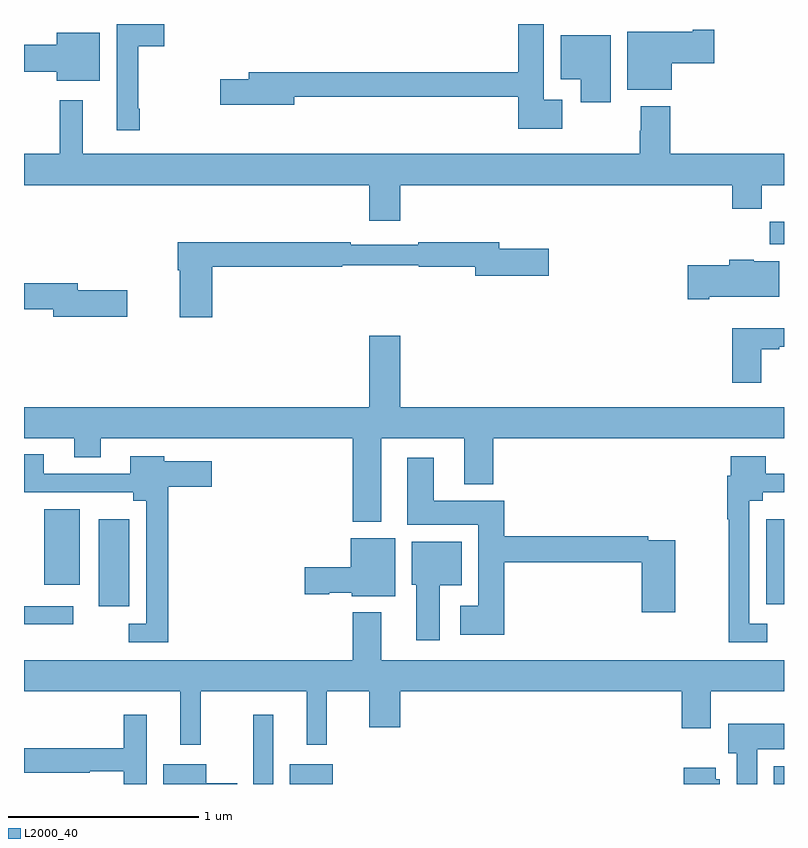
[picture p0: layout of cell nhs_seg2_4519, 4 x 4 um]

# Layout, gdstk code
import gdstk
lib = gdstk.Library(unit=1e-6, precision=1e-09)
def R(c, l, rs):  # rectangles x0, y0, x1, y1
    for r in rs: c.add(gdstk.rectangle(r[:2], r[2:], *l))
def P(c, l, *ps):  # polygons
    for p in ps: c.add(gdstk.Polygon(p, *l))
L2000_40 = (2000, 40)

nhs_seg2_4519 = lib.new_cell('nhs_seg2_4519')
R(nhs_seg2_4519, L2000_40, [(356.207,661.8,356.311,662.164), (356.399,661.8,356.626,661.903), (358.946,661.8,359,661.894), (355,662.64,355.258,662.736), (355.394,662.735,355.555,663.193), (358.907,662.745,359,663.193), (355.106,662.849,355.294,663.247), (358.924,664.64,359,664.759)])
P(nhs_seg2_4519, L2000_40, [(355.609,665.353),(355.601,665.353),(355.601,665.684),(355.738,665.684),(355.738,665.8),(355.487,665.8),(355.487,665.241),(355.609,665.241)],
  [(357.832,665.401),(357.736,665.401),(357.736,665.8),(357.602,665.8),(357.602,665.546),(356.183,665.546),(356.183,665.51),(356.034,665.51),(356.034,665.375),(356.422,665.375),(356.422,665.418),(357.602,665.418),(357.602,665.249),(357.832,665.249)],
  [(358.408,665.593),(358.633,665.593),(358.633,665.771),(358.52,665.771),(358.52,665.758),(358.175,665.758),(358.175,665.453),(358.408,665.453)],
  [(355.399,665.755),(355.172,665.755),(355.172,665.69),(355,665.69),(355,665.548),(355.172,665.548),(355.172,665.501),(355.399,665.501)],
  [(358.087,665.74),(357.824,665.74),(357.824,665.51),(357.929,665.51),(357.929,665.388),(358.087,665.388)],
  [(356.98,664.952),(358.727,664.952),(358.727,664.828),(358.883,664.828),(358.883,664.952),(359,664.952),(359,665.116),(358.4,665.116),(358.4,665.368),(358.247,665.368),(358.247,665.237),(358.24,665.237),(358.24,665.116),(355.309,665.116),(355.309,665.398),(355.188,665.398),(355.188,665.116),(355,665.116),(355,664.952),(356.816,664.952),(356.816,664.764),(356.98,664.764)],
  [(355.991,664.522),(356.676,664.522),(356.676,664.53),(357.078,664.53),(357.078,664.522),(357.374,664.522),(357.374,664.475),(357.763,664.475),(357.763,664.617),(357.502,664.617),(357.502,664.651),(357.076,664.651),(357.076,664.638),(356.72,664.638),(356.72,664.651),(355.808,664.651),(355.808,664.505),(355.82,664.505),(355.82,664.257),(355.991,664.257)],
  [(358.606,664.364),(358.975,664.364),(358.975,664.552),(358.842,664.552),(358.842,664.558),(358.712,664.558),(358.712,664.53),(358.494,664.53),(358.494,664.352),(358.606,664.352)],
  [(355.543,664.4),(355.282,664.4),(355.282,664.436),(355,664.436),(355,664.3),(355.154,664.3),(355.154,664.258),(355.543,664.258)],
  [(358.879,664.089),(358.975,664.089),(358.975,664.101),(359,664.101),(359,664.198),(358.727,664.198),(358.727,663.912),(358.879,663.912)],
  [(356.881,663.62),(357.317,663.62),(357.317,663.377),(357.47,663.377),(357.47,663.62),(359,663.62),(359,663.784),(356.98,663.784),(356.98,664.159),(356.816,664.159),(356.816,663.784),(355,663.784),(355,663.62),(355.265,663.62),(355.265,663.521),(355.405,663.521),(355.405,663.62),(356.729,663.62),(356.729,663.179),(356.881,663.179)],
  [(355.76,663.365),(355.987,663.365),(355.987,663.499),(355.737,663.499),(355.737,663.526),(355.559,663.526),(355.559,663.432),(355.105,663.432),(355.105,663.535),(355,663.535),(355,663.336),(355.574,663.336),(355.574,663.29),(355.644,663.29),(355.644,662.644),(355.551,662.644),(355.551,662.547),(355.76,662.547)],
  [(358.912,662.643),(358.818,662.643),(358.818,663.29),(358.888,663.29),(358.888,663.336),(359,663.336),(359,663.432),(358.903,663.432),(358.903,663.526),(358.721,663.526),(358.721,663.422),(358.702,663.422),(358.702,663.194),(358.71,663.194),(358.71,662.547),(358.912,662.547)],
  [(357.527,662.968),(358.25,662.968),(358.25,662.703),(358.428,662.703),(358.428,663.084),(358.286,663.084),(358.286,663.104),(357.527,663.104),(357.527,663.292),(357.157,663.292),(357.157,663.517),(357.017,663.517),(357.017,663.164),(357.392,663.164),(357.392,662.737),(357.297,662.737),(357.297,662.585),(357.527,662.585)],
  [(356.953,663.094),(356.72,663.094),(356.72,662.942),(356.478,662.942),(356.478,662.8),(356.607,662.8),(356.607,662.807),(356.724,662.807),(356.724,662.789),(356.953,662.789)],
  [(357.187,662.846),(357.304,662.846),(357.304,663.076),(357.041,663.076),(357.041,662.85),(357.065,662.85),(357.065,662.556),(357.187,662.556)],
  [(355.93,662.288),(356.489,662.288),(356.489,662.007),(356.593,662.007),(356.593,662.288),(356.816,662.288),(356.816,662.1),(356.98,662.1),(356.98,662.288),(358.463,662.288),(358.463,662.094),(358.615,662.094),(358.615,662.288),(359,662.288),(359,662.452),(356.881,662.452),(356.881,662.704),(356.729,662.704),(356.729,662.452),(355,662.452),(355,662.288),(355.823,662.288),(355.823,662.007),(355.93,662.007)],
  [(355.645,662.164),(355.524,662.164),(355.524,661.987),(355,661.987),(355,661.858),(355.345,661.858),(355.345,661.866),(355.524,661.866),(355.524,661.8),(355.645,661.8)],
  [(358.858,661.982),(359,661.982),(359,662.116),(358.706,662.116),(358.706,661.962),(358.751,661.962),(358.751,661.8),(358.858,661.8)],
  [(356.122,661.803),(355.96,661.803),(355.96,661.903),(355.733,661.903),(355.733,661.8),(356.122,661.8)],
  [(358.663,661.824),(358.642,661.824),(358.642,661.885),(358.472,661.885),(358.472,661.8),(358.663,661.8)])

lib.write_gds('nhs_seg2_4519.gds')
